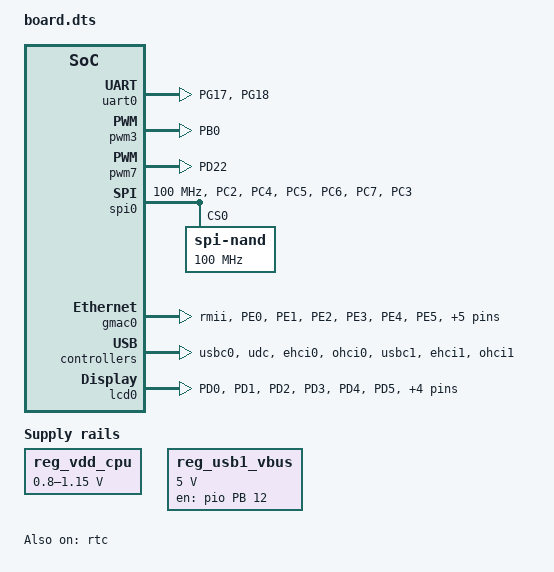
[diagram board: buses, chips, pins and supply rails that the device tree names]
/*
 * Allwinner Technology CO., Ltd.
 */

/dts-v1/;

#include "sun8iw20p1.dtsi"

/{
	reg_vdd_cpu: vdd-cpu {
		compatible = "sunxi-pwm-regulator";
		pwms = <&pwm 7 5000 1>;
		regulator-name = "vdd_cpu";
		regulator-min-microvolt = <800000>;
		regulator-max-microvolt = <1150000>;
		regulator-settling-time-us = <4000>;
		regulator-always-on;
		regulator-boot-on;
		status = "okay";
	};

	reg_usb1_vbus: usb1-vbus {
		compatible = "regulator-fixed";
		regulator-name = "usb1-vbus";
		regulator-min-microvolt = <5000000>;
		regulator-max-microvolt = <5000000>;
		regulator-enable-ramp-delay = <1000>;
		gpio = <&pio PB 12 GPIO_ACTIVE_HIGH>;
		enable-active-high;
	};
};

&cpu0 {
	cpu-supply = <&reg_vdd_cpu>;
};

&pio {
	uart0_pins_a: uart0_pins@0 {  /* For EVB1 board */
		pins = "PG17", "PG18";
		function = "uart0";
	};

	uart0_pins_b: uart0_pins@1 {  /* For EVB1 board */
		pins = "PG17", "PG18";
		function = "gpio_in";
	};

	uart1_pins_a: uart1_pins@0 {  /* For EVB1 board */
		pins = "PG6", "PG7";
		function = "uart1";
		drive-strength = <10>;
		bias-pull-up;
	};

	uart1_pins_b: uart1_pins@1 {  /* For EVB1 board */
		pins = "PG6", "PG7";
		function = "gpio_in";
	};

	uart2_pins_a: uart2_pins@0 {  /* For EVB1 board */
		pins = "PE2", "PE3";
		function = "uart2";
		drive-strength = <10>;
		bias-pull-up;
	};

	uart2_pins_b: uart2_pins@1 {  /* For EVB1 board */
		pins = "PE2", "PE3";
		function = "gpio_in";
	};

	uart3_pins_a: uart3_pins@0 {  /* For t113_evb */
		pins = "PG8", "PG9";
		function = "uart3";
		drive-strength = <10>;
		bias-pull-up;
	};

	uart3_pins_b: uart3_pins@1 {  /* For t113_evb */
		pins = "PG8", "PG9";
		function = "gpio_in";
	};

	uart4_pins_a: uart4_pins@0 {  /* For t113_evb */
		pins = "PB2", "PB3";
		function = "uart4";
		drive-strength = <10>;
		bias-pull-up;
	};

	uart4_pins_b: uart4_pins@1 {  /* For t113_evb */
		pins = "PB2", "PB3";
		function = "gpio_in";
	};

	uart5_pins_a: uart5_pins@0 {  /* For t113_evb */
		pins = "PE6", "PE7";
		function = "uart5";
		drive-strength = <10>;
		bias-pull-up;
	};

	uart5_pins_b: uart5_pins@1 {  /* For t113_evb */
		pins = "PE6", "PE7";
		function = "gpio_in";
	};

	twi0_pins_default: twi0@0 {
		pins = "PB10", "PB11";
		function = "twi0";
		drive-strength = <10>;
		bias-pull-up;
	};

	twi0_pins_sleep: twi0@1 {
		pins = "PB10", "PB11";
		function = "gpio_in";
	};

	twi1_pins_default: twi1@0 {
		pins = "PE0", "PE1";
		function = "twi1";
		drive-strength = <10>;
		bias-pull-up;
	};

	twi1_pins_sleep: twi1@1 {
		pins = "PE0", "PE1";
		function = "gpio_in";
	};

	twi2_pins_default: twi2@0 {
		pins = "PE12", "PE13";
		function = "twi2";
		drive-strength = <10>;
		bias-pull-up;
	};

	twi2_pins_sleep: twi2@1 {
		pins = "PE12", "PE13";
		function = "gpio_in";
	};

	twi3_pins_default: twi3@0 {
		pins = "PG10", "PG11";
		function = "twi3";
		drive-strength = <10>;
		bias-pull-up;
	};

	twi3_pins_sleep: twi3@1 {
		pins = "PG10", "PG11";
		function = "gpio_in";
	};

	pwm3_pin_active: pwm3@0 {
		pins = "PB0";
		function = "pwm3";
		drive-strength = <10>;
		bias-pull-up;
	};

	pwm3_pin_sleep: pwm3@1 {
		pins = "PB0";
		function = "gpio_in";
		bias-pull-down;
	};

	pwm7_pin_active: pwm7@0 {
		pins = "PD22";
		function = "pwm7";
		drive-strength = <10>;
		bias-pull-up;
	};

	pwm7_pin_sleep: pwm7@1 {
		pins = "PD22";
		function = "gpio_in";
		bias-pull-down;
	};

	spi0_pins_a: spi0@0 {
		allwinner,pins = "PC2", "PC4",
			"PC5", "PC6", "PC7";
		allwinner,pname = "spi0_sclk", "spi0_mosi",
				"spi0_miso", "spi0_wp", "spi0_hold";
		allwinner,function = "spi0";
		allwinner,muxsel = <2>;
		allwinner,drive = <1>;
		allwinner,pull = <0>;
	};

	spi0_pins_b: spi0@1 {
		allwinner,pins = "PC3";
		allwinner,pname = "spi0_cs0";
		allwinner,function = "spi0";
		allwinner,muxsel = <2>;
		allwinner,drive = <1>;
		allwinner,pull = <1>;	/* only CS should be pulled up  */
	};

	spi0_pins_c: spi0@2 {
		allwinner,pins = "PC2", "PC3", "PC4",
				"PC5", "PC6", "PC7";
		allwinner,function = "gpio_in";
		allwinner,muxsel = <0>;
		allwinner,drive = <1>;
		allwinner,pull = <0>;
	};

	spi1_pins_a: spi1@0 {
		pins = "PB11", "PB10", "PB9","PB8", "PD15"; /*clk mosi miso hold wp*/
		function = "spi1";
		drive-strength = <10>;
	};

	spi1_pins_b: spi1@1 {
		pins = "PB12";
		function = "spi1";
		drive-strength = <10>;
		bias-pull-up;	/*only CS should be pulled up*/
	};

	spi1_pins_c: spi1@2 {
		pins = "PD15", "PB8", "PB9", "PB10","PB11", "PB12";
		function = "io_disabled";
		muxsel = <15>;
		drive-strength = <10>;
	};

	gmac0_pins_default: gmac0@0 {
		allwinner,pins = "PE0", "PE1", "PE2", "PE3",
			"PE4", "PE5", "PE6", "PE7",
			"PE8", "PE9", "PE10";
		allwinner,function = "gmac0";
		allwinner,muxsel = <8>;
		allwinner,drive = <3>;
		allwinner,pull = <1>;
	};

	gmac0_pins_sleep: gmac0@1 {
		allwinner,pins = "PE0", "PE1", "PE2", "PE3",
			"PE4", "PE5", "PE6", "PE7",
			"PE8", "PE9", "PE10";
		allwinner,function = "gpio_in";
		allwinner,muxsel = <0>;
		allwinner,drive = <3>;
		allwinner,pull = <1>;
	};

	lvds0_pins_a: lvds0@0 {
		allwinner,pins  = "PD0", "PD1", "PD2", "PD3", "PD4", "PD5", "PD6", "PD7", "PD8", "PD9";
		allwinner,pname = "PD0", "PD1", "PD2", "PD3", "PD4", "PD5", "PD6", "PD7", "PD8", "PD9";
		allwinner,function = "lvds0";
		allwinner,muxsel = <3>;
		allwinner,drive = <3>;
		allwinner,pull = <0>;
	};

	lvds0_pins_b: lvds0@1 {
		allwinner,pins  = "PD0", "PD1", "PD2", "PD3", "PD4", "PD5", "PD6", "PD7", "PD8", "PD9";
		allwinner,pname = "PD0", "PD1", "PD2", "PD3", "PD4", "PD5", "PD6", "PD7", "PD8", "PD9";
		allwinner,function = "io_disabled";
		allwinner,muxsel = <7>;
		allwinner,drive = <3>;
		allwinner,pull = <0>;
	};

	rgb24_pins_a: rgb24@0 {
		allwinner,pins = "PB2", "PB3", "PD0", "PD1", "PD2", "PD3", "PD4", "PD5", \
			"PB4", "PB5", "PD6", "PD7", "PD8", "PD9", "PD10", "PD11", \
			"PB6", "PB7", "PD12", "PD13", "PD14", "PD15", "PD16", "PD17", \
			"PD18", "PD19", "PD20", "PD21";
		allwinner,pname = "lcdd0", "lcdd1", "lcdd2", "lcdd3", "lcdd4", "lcdd5", "lcdd6", "lcdd7", \
			"lcdd8", "lcdd9", "lcdd10", "lcdd11", "lcdd12", "lcdd13", "lcdd14", "lcdd15", \
			"lcdd16", "lcdd17", "lcdd18", "lcdd19", "lcdd20", "lcdd21", "lcdd22", "lcdd23", \
			"lcdclk", "lcdde", "lcdhsync", "lcdvsync";
		allwinner,function = "lcd0";
		allwinner,muxsel = <2>;
		allwinner,drive = <3>;
		allwinner,pull = <0>;
	};

	rgb24_pins_b: rgb24@1 {
		allwinner,pins = "PB2", "PB3", "PD0", "PD1", "PD2", "PD3", "PD4", "PD5", \
			"PB4", "PB5", "PD6", "PD7", "PD8", "PD9", "PD10", "PD11", \
			"PB6", "PB7", "PD12", "PD13", "PD14", "PD15", "PD16", "PD17", \
			"PD18", "PD19", "PD20", "PD21";
		allwinner,pname = "lcdd0", "lcdd1", "lcdd2", "lcdd3", "lcdd4", "lcdd5", "lcdd6", "lcdd7", \
			"lcdd8", "lcdd9", "lcdd10", "lcdd11", "lcdd12", "lcdd13", "lcdd14", "lcdd15", \
			"lcdd16", "lcdd17", "lcdd18", "lcdd19", "lcdd20", "lcdd21", "lcdd22", "lcdd23", \
			"lcdclk", "lcdde", "lcdhsync", "lcdvsync";
		allwinner,function = "io_disabled";
		allwinner,muxsel = <7>;
		allwinner,drive = <3>;
		allwinner,pull = <0>;
	};

	dsi4line_pins_a: dsi4lane@0 {
		allwinner,pins = "PD0", "PD1", "PD2", "PD3", "PD4", "PD5", "PD6", "PD7", "PD8", "PD9";
		allwinner,pname = "PD0", "PD1", "PD2", "PD3", "PD4", "PD5", "PD6", "PD7", "PD8", "PD9";
		allwinner,function = "dsi";
		allwinner,muxsel = <4>;
		allwinner,drive = <3>;
		allwinner,pull = <0>;
	};

	dsi4line_pins_b: dsi4lane@1 {
		allwinner,pins = "PD0", "PD1", "PD2", "PD3", "PD4", "PD5", "PD6", "PD7", "PD8", "PD9";
		allwinner,pname = "PD0", "PD1", "PD2", "PD3", "PD4", "PD5", "PD6", "PD7", "PD8", "PD9";
		allwinner,function = "io_disabled";
		allwinner,muxsel = <7>;
		allwinner,drive = <1>;
		allwinner,pull = <0>;
	};
};

&uart0 {
	pinctrl-names = "default", "sleep";
	pinctrl-0 = <&uart0_pins_a>;
	pinctrl-1 = <&uart0_pins_b>;
	status = "okay";
};

&uart1 {
	pinctrl-names = "default", "sleep";
	pinctrl-0 = <&uart1_pins_a>;
	pinctrl-1 = <&uart1_pins_b>;
	status = "disabled";
};

&uart2 {
	pinctrl-names = "default", "sleep";
	pinctrl-0 = <&uart2_pins_a>;
	pinctrl-1 = <&uart2_pins_b>;
	status = "disabled";
};

&uart3 {
	pinctrl-names = "default", "sleep";
	pinctrl-0 = <&uart3_pins_a>;
	pinctrl-1 = <&uart3_pins_b>;
	status = "disabled";
};

&uart4 {
	pinctrl-names = "default", "sleep";
	pinctrl-0 = <&uart4_pins_a>;
	pinctrl-1 = <&uart4_pins_b>;
	status = "disabled";
};

&uart5 {
	pinctrl-names = "default", "sleep";
	pinctrl-0 = <&uart5_pins_a>;
	pinctrl-1 = <&uart5_pins_b>;
	status = "disabled";
};

&rtc {
	gpr-only;
	status = "okay";
};

&twi0 {
	clock-frequency = <400000>;
	pinctrl-0 = <&twi0_pins_default>;
	pinctrl-1 = <&twi0_pins_sleep>;
	pinctrl-names = "default", "sleep";
	twi_drv_used = <1>;
	status = "disabled";
};

&twi1 {
	clock-frequency = <400000>;
	pinctrl-0 = <&twi1_pins_default>;
	pinctrl-1 = <&twi1_pins_sleep>;
	pinctrl-names = "default", "sleep";
	twi_drv_used = <1>;
	status = "disabled";
};

&twi2 {
	clock-frequency = <400000>;
	pinctrl-0 = <&twi2_pins_default>;
	pinctrl-1 = <&twi2_pins_sleep>;
	pinctrl-names = "default", "sleep";
	twi_drv_used = <1>;
	status = "disabled";
};

&twi3 {
	clock-frequency = <400000>;
	pinctrl-0 = <&twi3_pins_default>;
	pinctrl-1 = <&twi3_pins_sleep>;
	pinctrl-names = "default", "sleep";
	twi_drv_used = <1>;
	status = "disabled";
};

&pwm3 {
	pinctrl-names = "active", "sleep";
	pinctrl-0 = <&pwm3_pin_active>;
	pinctrl-1 = <&pwm3_pin_sleep>;
	status = "okay";
};

&pwm7 {
	pinctrl-names = "active", "sleep";
	pinctrl-0 = <&pwm7_pin_active>;
	pinctrl-1 = <&pwm7_pin_sleep>;
	status = "okay";
};

&rtp {
	allwinner,tp-sensitive-adjust = <0x2>;
	allwinner,filter-type = <0x3>;
	status = "disabled";
};

&spi0 {
	clock-frequency = <100000000>;
	pinctrl-0 = <&spi0_pins_a &spi0_pins_b>;
	pinctrl-1 = <&spi0_pins_c>;
	pinctrl-names = "default", "sleep";
	spi0_cs_number = <1>;
	spi_slave_mode = <0>;
	spi0_cs_number = <1>;
	spi0_cs_bitmap = <1>;
	spi_dbi_enable = <0>;
	status = "okay";
	/* if use spi-nand, pls open spi status and spi-nand status
	   if use spi-nor, pls open spi status and cloce spi-nand status */
	spi-nand@0 {
		compatible = "spi-nand";
		spi-max-frequency = <0x5F5E100>;
		reg = <0x0>;
		spi-rx-bus-width = <0x04>;
		spi-tx-bus-width = <0x04>;
		status = "okay";
	};
};

&gmac0 {
	phy-mode = "rmii";
	pinctrl-names = "default", "sleep";
	pinctrl-0 = <&gmac0_pins_default>;
	pinctrl-1 = <&gmac0_pins_sleep>;
	sunxi,phy-clk-type = <0>;
	tx-delay = <7>;
	rx-delay = <31>;
	status = "okay";
};

/*
 *usb_port_type: usb mode. 0-device, 1-host, 2-otg.
 *usb_detect_type: usb hotplug detect mode. 0-none, 1-vbus/id detect, 2-id/dpdm detect.
 *usb_detect_mode: 0-thread scan, 1-id gpio interrupt.
 *usb_id_gpio: gpio for id detect.
 *usb_det_vbus_gpio: gpio for id detect. gpio or "axp_ctrl";
 *usb_wakeup_suspend：0-SUPER_STANDBY, 1-USB_STANDBY.
 */
&usbc0 {
	device_type = "usbc0";
	usb_port_type = <0>;
	usb_detect_type = <1>;
	usb_detect_mode = <0>;
	usb_id_gpio = <&pio PB 11 GPIO_ACTIVE_HIGH>;
	enable-active-high;
	usb_det_vbus_gpio = <&pio PB 10 GPIO_ACTIVE_HIGH>;
	usb_wakeup_suspend = <0>;
	usb_serial_unique = <0>;
	usb_serial_number = "20080411";
	rndis_wceis = <1>;
	status = "okay";
};

&udc {
	status = "okay";
};

&ehci0 {
	drvvbus-supply = <&reg_usb1_vbus>;
	status = "okay";
};

&ohci0 {
	drvvbus-supply = <&reg_usb1_vbus>;
	status = "okay";
};

&usbc1 {
	device_type = "usbc1";
	usb_regulator_io = "nocare";
	usb_wakeup_suspend = <0>;
	status = "okay";
};

&ehci1 {
	drvvbus-supply = <&reg_usb1_vbus>;
	status = "okay";
};

&ohci1 {
	drvvbus-supply = <&reg_usb1_vbus>;
	status = "okay";
};

&spi1 {
	clock-frequency = <100000000>;
	pinctrl-0 = <&spi1_pins_a &spi1_pins_b>;
	pinctrl-1 = <&spi1_pins_c>;
	pinctrl-names = "default", "sleep";
	spi_slave_mode = <0>;
	spi1_cs_number = <1>;
	spi1_cs_bitmap = <1>;
	status = "disabled";
	spidev1@0 {
		compatible = "rohm,dh2228fv";
		spi-max-frequency = <10000000>;
		reg = <0x0>;
		spi-rx-bus-width = <0x1>;
		spi-tx-bus-width = <0x1>;
		status = "disabled";
	};
};

&disp {
	disp_init_enable         = <1>;
	disp_mode                = <0>;

	screen0_output_type      = <1>;
	screen0_output_mode      = <4>;

	screen1_output_type      = <1>;
	screen1_output_mode      = <4>;

	screen1_output_format    = <0>;
	screen1_output_bits      = <0>;
	screen1_output_eotf      = <4>;
	screen1_output_cs        = <257>;
	screen1_output_range     = <2>;
	screen1_output_scan      = <0>;
	screen1_output_aspect_ratio = <8>;

	dev0_output_type         = <1>;
	dev0_output_mode         = <4>;
	dev0_screen_id           = <0>;
	dev0_do_hpd              = <0>;

	dev1_output_type         = <4>;
	dev1_output_mode         = <10>;
	dev1_screen_id           = <1>;
	dev1_do_hpd              = <1>;

	def_output_dev           = <0>;

	fb_format                = <0>;
	fb_num                   = <1>;

	fb0_map                  = <0 1 0 16>;
	fb0_width                = <1024>;
	fb0_height               = <600>;

	fb1_map			 = <0 2 0 16>;
	fb1_width                = <300>;
	fb1_height               = <300>;

	chn_cfg_mode             = <1>;

	disp_para_zone           = <1>;
	/* VCC-LCD */
	/* dc1sw-supply = <&reg_dc1sw>; */
	/* VCC-DSI */
	/* eldo3-supply = <&reg_eldo3>; */
	/* VCC-PD */
	/* dcdc1-supply = <&reg_dcdc1>; */
};

&lcd0 {
	lcd_used            = <1>;

	lcd_driver_name     = "default_lcd";
	lcd_backlight       = <50>;
	lcd_if              = <3>;

	lcd_x               = <1024>;
	lcd_y               = <600>;
	lcd_width           = <150>;
	lcd_height          = <94>;
	lcd_dclk_freq       = <52>;

	lcd_pwm_used        = <1>;
	lcd_pwm_ch          = <3>;
	lcd_pwm_freq        = <50000>;
	lcd_pwm_pol         = <0>;
	lcd_pwm_max_limit   = <255>;

	lcd_hbp             = <160>;
	lcd_ht              = <1344>;
	lcd_hspw            = <60>;
	lcd_vbp             = <23>;
	lcd_vt              = <638>;
	lcd_vspw            = <10>;

	lcd_lvds_if         = <0>;
	lcd_lvds_colordepth = <0>;
	lcd_lvds_mode       = <0>;
	lcd_frm             = <1>;
	lcd_hv_clk_phase    = <0>;
	lcd_hv_sync_polarity= <0>;
	lcd_gamma_en        = <0>;
	lcd_bright_curve_en = <0>;
	lcd_cmap_en         = <0>;

	deu_mode            = <0>;
	lcdgamma4iep        = <22>;
	smart_color         = <90>;

	lcd_bl_en = <&pio PB 1 GPIO_ACTIVE_HIGH>;
	pinctrl-0 = <&lvds0_pins_a>;
	pinctrl-1 = <&lvds0_pins_b>;
};

/*
&lcd0 {
	lcd_used            = <1>;
	lcd_driver_name     = "he0801a068";
	lcd_backlight       = <50>;
	lcd_if              = <4>;

	lcd_x               = <800>;
	lcd_y               = <1280>;
	lcd_width           = <52>;
	lcd_height          = <52>;
	lcd_dclk_freq       = <78>;

	lcd_pwm_used        = <1>;
	lcd_pwm_ch          = <3>;
	lcd_pwm_freq        = <50000>;
	lcd_pwm_pol         = <0>;
	lcd_pwm_max_limit   = <255>;

	lcd_hbp             = <149>;
	lcd_ht              = <978>;
	lcd_hspw            = <16>;
	lcd_vbp             = <7>;
	lcd_vt              = <1329>;
	lcd_vspw            = <5>;

	lcd_dsi_lane        = <4>;
	lcd_lvds_if         = <0>;
	lcd_lvds_colordepth = <1>;
	lcd_lvds_mode       = <0>;
	lcd_frm             = <0>;
	lcd_io_phase        = <0x0000>;
	lcd_gamma_en        = <0>;
	lcd_bright_curve_en = <0>;
	lcd_cmap_en         = <0>;
	lcd_fsync_act_time  = <1000>;
	lcd_fsync_dis_time  = <1000>;

	deu_mode            = <0>;
	lcdgamma4iep        = <22>;
	smart_color         = <90>;

	pinctrl-0 = <&dsi4line_pins_a>;
	pinctrl-1 = <&dsi4line_pins_b>;
	lcd_gpio_0 = <&pio PG 13 GPIO_ACTIVE_HIGH>;
}; */
/*
&lcd0 {
	lcd_used            = <1>;

	lcd_driver_name     = "default_lcd";
	lcd_backlight       = <50>;
	lcd_if              = <0>;

	lcd_x               = <800>;
	lcd_y               = <480>;
	lcd_width           = <150>;
	lcd_height          = <94>;
	lcd_dclk_freq       = <48>;

	lcd_pwm_used        = <1>;
	lcd_pwm_ch          = <3>;
	lcd_pwm_freq        = <50000>;
	lcd_pwm_pol         = <1>;

	lcd_hbp             = <55>;
	lcd_ht              = <1240>;
	lcd_hspw            = <20>;
	lcd_vbp             = <35>;
	lcd_vt              = <650>;
	lcd_vspw            = <10>;

	lcd_lvds_if         = <0>;
	lcd_lvds_colordepth = <1>;
	lcd_lvds_mode       = <0>;
	lcd_frm             = <0>;
	lcd_io_phase        = <0x0000>;
	lcd_gamma_en        = <0>;
	lcd_bright_curve_en = <0>;
	lcd_cmap_en         = <0>;

	deu_mode            = <0>;
	lcdgamma4iep        = <22>;
	smart_color         = <90>;

	lcd_bl_en = <&pio PB 1 GPIO_ACTIVE_HIGH>;
	pinctrl-0 = <&rgb18_pins_a>;
	pinctrl-1 = <&rgb18_pins_b>;
}; */
/*
&lcd0 {
	lcd_used            = <1>;

	lcd_driver_name     = "default_lcd";
	lcd_backlight       = <50>;
	lcd_if              = <0>;

	lcd_x               = <1024>;
	lcd_y               = <600>;
	lcd_width           = <150>;
	lcd_height          = <94>;
	lcd_dclk_freq       = <48>;

	lcd_pwm_used        = <1>;
	lcd_pwm_ch          = <3>;
	lcd_pwm_freq        = <50000>;
	lcd_pwm_pol         = <0>;

	lcd_hbp             = <55>;
	lcd_ht              = <1240>;
	lcd_hspw            = <20>;
	lcd_vbp             = <35>;
	lcd_vt              = <650>;
	lcd_vspw            = <10>;

	lcd_lvds_if         = <0>;
	lcd_lvds_colordepth = <1>;
	lcd_lvds_mode       = <0>;
	lcd_frm             = <1>;
	lcd_io_phase        = <0x0000>;
	lcd_gamma_en        = <0>;
	lcd_bright_curve_en = <0>;
	lcd_cmap_en         = <0>;

	deu_mode            = <0>;
	lcdgamma4iep        = <22>;
	smart_color         = <90>;

	pinctrl-0 = <&rgb24_pins_a>;
	pinctrl-1 = <&rgb24_pins_b>;
}; */
